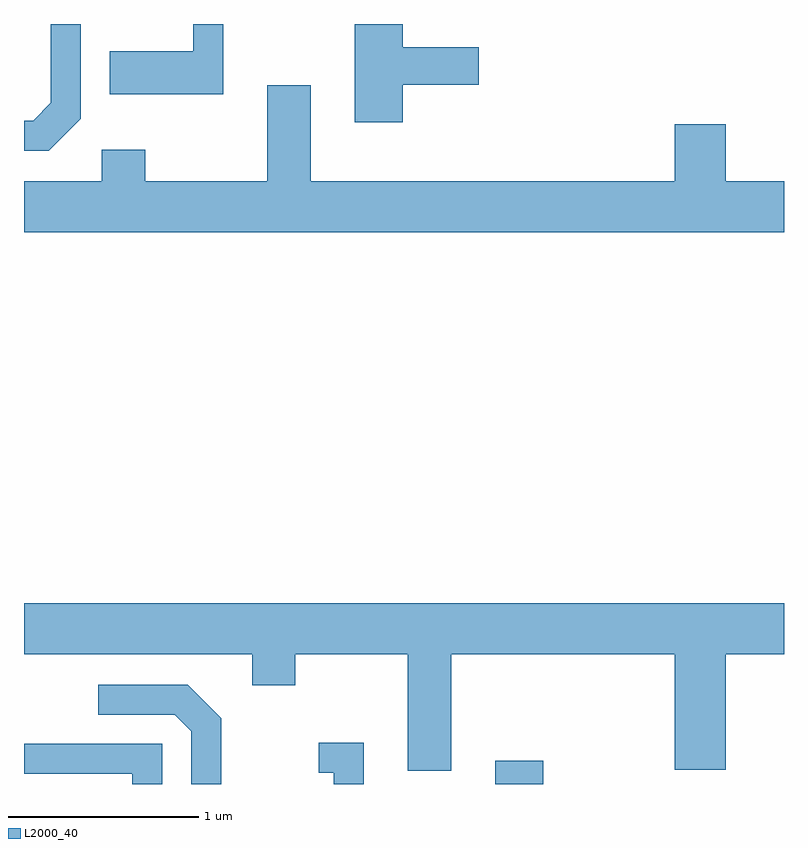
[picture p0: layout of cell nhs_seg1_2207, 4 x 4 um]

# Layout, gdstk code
import gdstk
lib = gdstk.Library(unit=1e-6, precision=1e-09)
def R(c, l, rs):  # rectangles x0, y0, x1, y1
    for r in rs: c.add(gdstk.rectangle(r[:2], r[2:], *l))
def P(c, l, *ps):  # polygons
    for p in ps: c.add(gdstk.Polygon(p, *l))
L2000_40 = (2000, 40)

nhs_seg1_2207 = lib.new_cell('nhs_seg1_2207')
R(nhs_seg1_2207, L2000_40, [(254.091,967.712,254.344,967.834)])
P(nhs_seg1_2207, L2000_40, [(251.909,971.214),(251.909,971.712),(251.751,971.712),(251.751,971.297),(251.659,971.204),(251.611,971.204),(251.611,971.046),(251.742,971.046)],
  [(252.659,971.712),(252.501,971.712),(252.501,971.569),(252.061,971.569),(252.061,971.341),(252.659,971.341)],
  [(253.604,971.391),(254.004,971.391),(254.004,971.589),(253.604,971.589),(253.604,971.712),(253.351,971.712),(253.351,971.196),(253.604,971.196)],
  [(255.611,970.884),(255.304,970.884),(255.304,971.184),(255.036,971.184),(255.036,970.884),(253.119,970.884),(253.119,971.389),(252.891,971.389),(252.891,970.884),(252.249,970.884),(252.249,971.049),(252.021,971.049),(252.021,970.884),(251.611,970.884),(251.611,970.616),(255.611,970.616)],
  [(253.859,968.396),(255.036,968.396),(255.036,967.786),(255.304,967.786),(255.304,968.396),(255.611,968.396),(255.611,968.664),(251.611,968.664),(251.611,968.396),(252.811,968.396),(252.811,968.231),(253.039,968.231),(253.039,968.396),(253.631,968.396),(253.631,967.781),(253.859,967.781)],
  [(252.649,968.057),(252.472,968.234),(252.003,968.234),(252.003,968.076),(252.404,968.076),(252.491,967.989),(252.491,967.712),(252.649,967.712)],
  [(253.399,967.929),(253.163,967.929),(253.163,967.771),(253.241,967.771),(253.241,967.712),(253.399,967.712)],
  [(252.339,967.924),(251.611,967.924),(251.611,967.766),(252.181,967.766),(252.181,967.712),(252.339,967.712)])

lib.write_gds('nhs_seg1_2207.gds')
